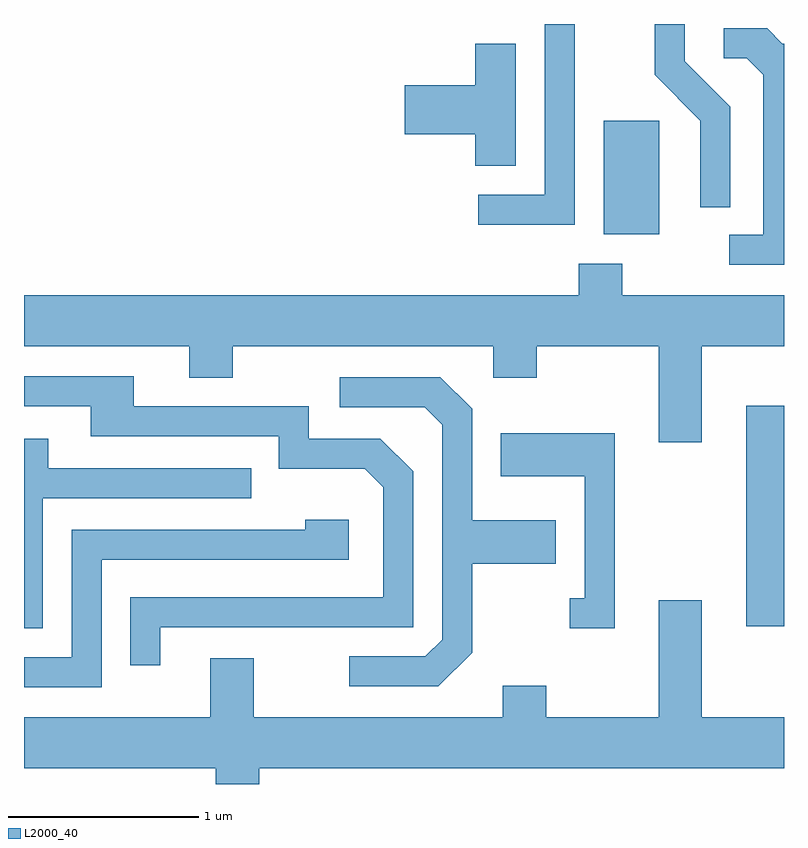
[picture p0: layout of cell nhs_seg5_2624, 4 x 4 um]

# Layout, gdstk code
import gdstk
lib = gdstk.Library(unit=1e-6, precision=1e-09)
def R(c, l, rs):  # rectangles x0, y0, x1, y1
    for r in rs: c.add(gdstk.rectangle(r[:2], r[2:], *l))
def P(c, l, *ps):  # polygons
    for p in ps: c.add(gdstk.Polygon(p, *l))
L2000_40 = (2000, 40)

nhs_seg5_2624 = lib.new_cell('nhs_seg5_2624')
R(nhs_seg5_2624, L2000_40, [(267.411,1430.901,267.611,1432.064), (266.661,1432.966,266.954,1433.564)])
P(nhs_seg5_2624, L2000_40, [(267.329,1433.637),(267.089,1433.877),(267.089,1434.072),(266.931,1434.072),(266.931,1433.804),(267.171,1433.564),(267.171,1433.108),(267.329,1433.108)],
  [(266.509,1434.072),(266.351,1434.072),(266.351,1433.174),(266.003,1433.174),(266.003,1433.016),(266.509,1433.016)],
  [(267.611,1433.969),(267.602,1433.969),(267.522,1434.049),(267.293,1434.049),(267.293,1433.891),(267.414,1433.891),(267.501,1433.804),(267.501,1432.964),(267.323,1432.964),(267.323,1432.806),(267.611,1432.806)],
  [(266.199,1433.969),(265.986,1433.969),(265.986,1433.749),(265.616,1433.749),(265.616,1433.491),(265.986,1433.491),(265.986,1433.326),(266.199,1433.326)],
  [(267.179,1432.376),(267.611,1432.376),(267.611,1432.644),(266.759,1432.644),(266.759,1432.809),(266.531,1432.809),(266.531,1432.644),(263.611,1432.644),(263.611,1432.376),(264.481,1432.376),(264.481,1432.211),(264.709,1432.211),(264.709,1432.376),(266.081,1432.376),(266.081,1432.211),(266.309,1432.211),(266.309,1432.376),(266.951,1432.376),(266.951,1431.871),(267.179,1431.871)],
  [(264.329,1430.896),(265.659,1430.896),(265.659,1431.717),(265.487,1431.889),(265.109,1431.889),(265.109,1432.059),(264.189,1432.059),(264.189,1432.219),(263.611,1432.219),(263.611,1432.061),(263.961,1432.061),(263.961,1431.901),(264.951,1431.901),(264.951,1431.731),(265.404,1431.731),(265.501,1431.634),(265.501,1431.054),(264.171,1431.054),(264.171,1430.698),(264.329,1430.698)],
  [(265.969,1430.764),(265.969,1431.231),(266.409,1431.231),(266.409,1431.459),(265.969,1431.459),(265.969,1432.047),(265.802,1432.214),(265.273,1432.214),(265.273,1432.056),(265.719,1432.056),(265.811,1431.964),(265.811,1430.832),(265.724,1430.744),(265.323,1430.744),(265.323,1430.586),(265.792,1430.586)],
  [(266.719,1431.919),(266.121,1431.919),(266.121,1431.691),(266.561,1431.691),(266.561,1431.049),(266.483,1431.049),(266.483,1430.891),(266.719,1430.891)],
  [(263.709,1431.576),(264.808,1431.576),(264.808,1431.734),(263.739,1431.734),(263.739,1431.889),(263.611,1431.889),(263.611,1430.891),(263.709,1430.891)],
  [(264.019,1431.251),(265.319,1431.251),(265.319,1431.464),(265.091,1431.464),(265.091,1431.409),(263.861,1431.409),(263.861,1430.739),(263.611,1430.739),(263.611,1430.581),(264.019,1430.581)],
  [(264.591,1430.424),(263.611,1430.424),(263.611,1430.156),(264.621,1430.156),(264.621,1430.072),(264.849,1430.072),(264.849,1430.156),(267.611,1430.156),(267.611,1430.424),(267.179,1430.424),(267.179,1431.039),(266.951,1431.039),(266.951,1430.424),(266.359,1430.424),(266.359,1430.589),(266.131,1430.589),(266.131,1430.424),(264.819,1430.424),(264.819,1430.734),(264.591,1430.734)])

lib.write_gds('nhs_seg5_2624.gds')
